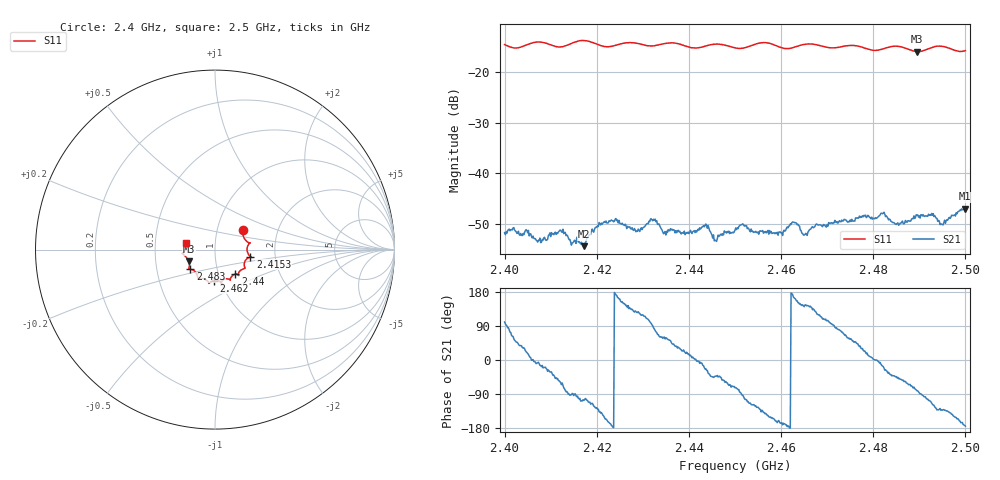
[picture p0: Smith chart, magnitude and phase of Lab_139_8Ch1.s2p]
# Hz S RI R 50
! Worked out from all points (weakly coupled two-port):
!   601 points, 2.4 GHz to 2.5 GHz, reference 50 ohm
!   highest |S21| = -46.98 dB at 2.4998 GHz (marker M1); lowest = -54.4 dB at 2.4172 GHz (marker M2)
!   lowest |S11| = -15.9 dB at 2.4895 GHz (marker M3), VSWR 1.38, Z = 37 - j5.01 ohm
!   |S11| at or under -10 dB: start of sweep to end of sweep
!   S12 and S22 are empty: the file has one direction only
!   S11 on the Smith chart (normalised r, x): 2.4 GHz: 1.33, +0.29; 2.4153 GHz: 1.48, -0.12; 2.44 GHz: 1.21, -0.34; 2.462 GHz: 0.93, -0.33; 2.483 GHz: 0.74, -0.17; 2.5 GHz: 0.72, +0.06
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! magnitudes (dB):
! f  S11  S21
! 2.4 GHz  -14.5  -51.7
! 2.4075 GHz  -14.0  -53.3
! 2.4122 GHz  -15.0  -51.2
! 2.4153 GHz  -14.0  -53.5
! 2.4167 GHz  -13.7  -53.6
! 2.4172 GHz  -13.7  -54.4
! 2.4215 GHz  -14.9  -49.7
! 2.4333 GHz  -14.6  -50.1
! 2.44 GHz  -15.0  -51.9
! 2.4437 GHz  -14.8  -50.0
! 2.4457 GHz  -14.4  -53.2
! 2.45 GHz  -15.1  -51.2
! 2.4598 GHz  -15.0  -51.6
! 2.462 GHz  -15.2  -50.0
! 2.4652 GHz  -14.4  -52.1
! 2.4667 GHz  -14.4  -50.7
! 2.483 GHz  -15.1  -48.6
! 2.4833 GHz  -15.0  -49.2
! 2.4895 GHz  -15.9  -48.3
! 2.4948 GHz  -14.8  -50.1
! 2.4998 GHz  -15.7  -47.0
! 2.5 GHz  -15.7  -47.1
